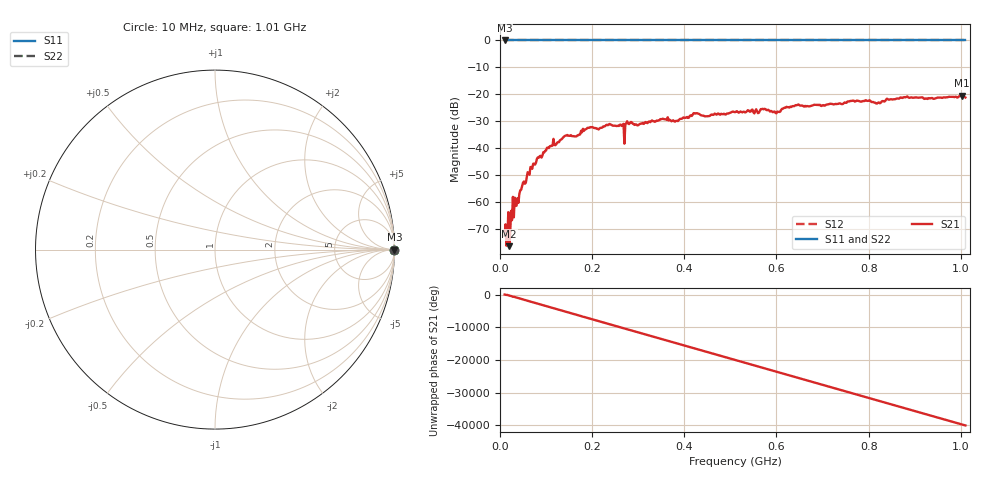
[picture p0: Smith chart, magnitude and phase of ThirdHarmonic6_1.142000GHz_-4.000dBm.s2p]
! 8/16/2025 11:13:50 AM
! C:\ANRITSUVNA\TEMP\TEMP.S2P
! CHANNEL.1
! TR.MEASUREMENT
! RAW.DATA
! RF.CORRECTION.OFF
! AVERAGING.OFF
! IF.BANDWIDTH: 5KHZ
! SWEEPTYPE:  FREQ.SWEEP(Linear)
! Reference Plane Port Info
! PORT:  PORT1  PORT2
! DISTANCE:  0  m  0  m
! TIME:  0  s  0  s
! PHASE.OFFSET:  0  deg.  0  deg.
! LOSS:  0  dB  0  dB
! REF.LOSS:  0  dB  0  dB
! REF.FREQ:  0  Hz  0  Hz
! Power Info
! POWER:  -20  dBm  -20  dBm
! EFF.POWER:  -20  dBm  -20  dBm
! SOURCE.ATTEN:  0  dB  0  dB
! TEST.ATTEN:  0  dB  0  dB
# GHZ S RI R 50.0
! FREQ.GHZ  S11RE  S11IM  S21RE  S21IM  S12RE  S12IM  S22RE  S22IM
!; PortSelection: Port_12
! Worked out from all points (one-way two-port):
!   501 points, 10 MHz to 1.01 GHz, reference 50 ohm
!   highest |S21| = -20.54 dB at 1.002 GHz (marker M1); lowest = -76.4 dB at 20 MHz (marker M2)
!   lowest |S11| = 0.0 dB at 10 MHz (marker M3)
!   |S11| at or under -10 dB: nowhere
!   |S22| runs from 0.0 to 0.0 dB; largest |S21 - S12| = 1.1
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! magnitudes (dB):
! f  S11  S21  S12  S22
! 10 MHz  0.0  -72.5  0.0  0.0
! 14 MHz  0.0  -76.2  0.0  0.0
! 18 MHz  0.0  -63.7  0.0  0.0
! 20 MHz  0.0  -76.4  0.0  0.0
! 28 MHz  0.0  -58.1  0.0  0.0
! 38 MHz  0.0  -58.5  0.0  0.0
! 48 MHz  0.0  -54.0  0.0  0.0
! 84 MHz  0.0  -43.5  0.0  0.0
! 142 MHz  0.0  -35.3  0.0  0.0
! 178 MHz  0.0  -34.1  0.0  0.0
! 236 MHz  0.0  -31.2  0.0  0.0
! 264 MHz  0.0  -31.7  0.0  0.0
! 268 MHz  0.0  -30.9  0.0  0.0
! 278 MHz  0.0  -30.8  0.0  0.0
! 344 MHz  0.0  -29.7  0.0  0.0
! 510 MHz  0.0  -26.6  0.0  0.0
! 602 MHz  0.0  -26.4  0.0  0.0
! 644 MHz  0.0  -24.1  0.0  0.0
! 678 MHz  0.0  -24.2  0.0  0.0
! 844 MHz  0.0  -22.0  0.0  0.0
! 1.002 GHz  0.0  -20.5  0.0  0.0
! 1.01 GHz  0.0  -21.2  0.0  0.0
